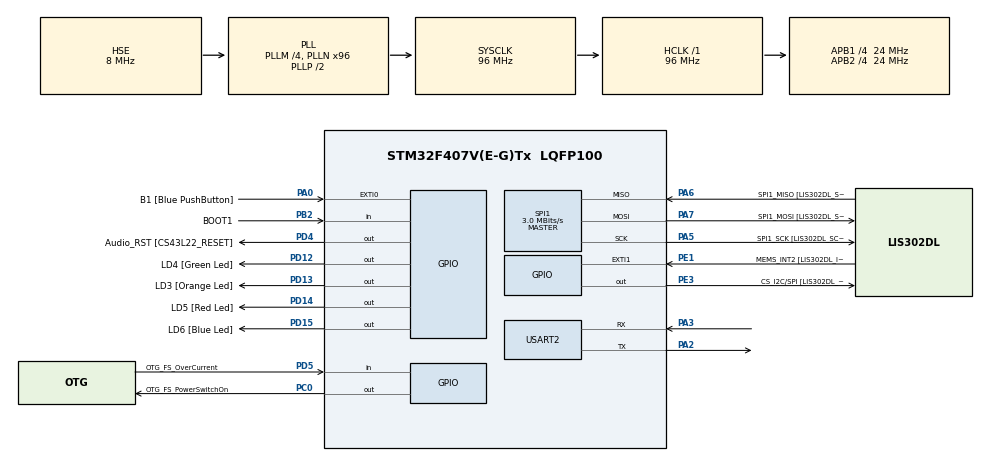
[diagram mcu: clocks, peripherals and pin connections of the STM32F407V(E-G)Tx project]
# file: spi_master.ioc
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Mcu.Family=STM32F4
Mcu.Name=STM32F407V(E-G)Tx
Mcu.Package=LQFP100
NVIC.PriorityGroup=NVIC_PRIORITYGROUP_0
NVIC.SPI1_IRQn=true\:0\:0\:false\:false\:true\:true\:true\:true
PA0-WKUP.GPIO_Label=B1 [Blue PushButton]
PA0-WKUP.GPIO_ModeDefaultEXTI=GPIO_MODE_EVT_RISING
PA0-WKUP.GPIO_PuPd=GPIO_NOPULL
PA0-WKUP.Signal=GPXTI0
PA10.GPIO_Label=OTG_FS_ID
PA10.GPIO_Mode=GPIO_MODE_AF_PP
PA10.GPIO_PuPd=GPIO_NOPULL
PA10.GPIO_Speed=GPIO_SPEED_FREQ_LOW
PA10.Signal=USB_OTG_FS_ID
PA11.GPIO_Label=OTG_FS_DM
PA11.GPIO_Mode=GPIO_MODE_AF_PP
PA11.GPIO_PuPd=GPIO_NOPULL
PA11.GPIO_Speed=GPIO_SPEED_FREQ_LOW
PA11.Signal=USB_OTG_FS_DM
PA12.GPIO_Label=OTG_FS_DP
PA12.GPIO_Mode=GPIO_MODE_AF_PP
PA12.GPIO_PuPd=GPIO_NOPULL
PA12.GPIO_Speed=GPIO_SPEED_FREQ_LOW
PA12.Signal=USB_OTG_FS_DP
PA13.GPIO_Label=SWDIO
PA13.Mode=Serial_Wire
PA13.Signal=SYS_JTMS-SWDIO
PA14.GPIO_Label=SWCLK
PA14.Mode=Serial_Wire
PA14.Signal=SYS_JTCK-SWCLK
PA2.Mode=Asynchronous
PA2.Signal=USART2_TX
PA3.Mode=Asynchronous
PA3.Signal=USART2_RX
PA4.GPIO_Label=I2S3_WS [CS43L22_LRCK]
PA4.GPIO_Mode=GPIO_MODE_AF_PP
PA4.GPIO_PuPd=GPIO_NOPULL
PA4.GPIO_Speed=GPIO_SPEED_FREQ_LOW
PA4.Signal=I2S3_WS
PA5.GPIO_Label=SPI1_SCK [LIS302DL_SCL/SPC]
PA5.GPIO_Mode=GPIO_MODE_AF_PP
PA5.GPIO_PuPd=GPIO_NOPULL
PA5.GPIO_Speed=GPIO_SPEED_FREQ_LOW
PA5.Mode=Full_Duplex_Master
PA5.Signal=SPI1_SCK
PA6.GPIO_Label=SPI1_MISO [LIS302DL_SDO]
PA6.GPIO_Mode=GPIO_MODE_AF_PP
PA6.GPIO_PuPd=GPIO_NOPULL
PA6.GPIO_Speed=GPIO_SPEED_FREQ_LOW
PA6.Mode=Full_Duplex_Master
PA6.Signal=SPI1_MISO
PA7.GPIO_Label=SPI1_MOSI [LIS302DL_SDA/SDI/SDO]
PA7.GPIO_Mode=GPIO_MODE_AF_PP
PA7.GPIO_PuPd=GPIO_NOPULL
PA7.GPIO_Speed=GPIO_SPEED_FREQ_LOW
PA7.Mode=Full_Duplex_Master
PA7.Signal=SPI1_MOSI
PA9.GPIO_Label=VBUS_FS
PA9.GPIO_Mode=GPIO_MODE_INPUT
PA9.GPIO_PuPd=GPIO_NOPULL
PA9.Signal=USB_OTG_FS_VBUS
PB10.GPIO_Label=CLK_IN [MP45DT02_CLK]
PB10.GPIO_Mode=GPIO_MODE_AF_PP
PB10.GPIO_PuPd=GPIO_NOPULL
PB10.GPIO_Speed=GPIO_SPEED_FREQ_LOW
PB10.Signal=I2S2_CK
PB2.GPIO_Label=BOOT1
PB2.GPIO_Mode=GPIO_MODE_INPUT
PB2.GPIO_PuPd=GPIO_NOPULL
PB2.Signal=GPIO_Input
PB3.GPIO_Label=SWO
PB3.Signal=SYS_JTDO-SWO
PB6.GPIO_Label=Audio_SCL [CS43L22_SCL]
PB6.GPIO_Mode=GPIO_MODE_AF_OD
PB6.GPIO_Pu=GPIO_PULLUP
PB6.GPIO_PuPd=GPIO_NOPULL
PB6.GPIO_Speed=GPIO_SPEED_FREQ_LOW
PB6.Signal=I2C1_SCL
PB9.GPIO_Label=Audio_SDA [CS43L22_SDA]
PB9.GPIO_Mode=GPIO_MODE_AF_OD
PB9.GPIO_Pu=GPIO_PULLUP
PB9.GPIO_PuPd=GPIO_NOPULL
PB9.GPIO_Speed=GPIO_SPEED_FREQ_LOW
PB9.Signal=I2C1_SDA
PC0.GPIO_Label=OTG_FS_PowerSwitchOn
PC0.GPIO_PuPd=GPIO_NOPULL
PC0.GPIO_Speed=GPIO_SPEED_FREQ_LOW
PC0.PinState=GPIO_PIN_SET
PC0.Signal=GPIO_Output
PC10.GPIO_Label=I2S3_SCK [CS43L22_SCLK]
PC10.GPIO_Mode=GPIO_MODE_AF_PP
PC10.GPIO_PuPd=GPIO_NOPULL
PC10.GPIO_Speed=GPIO_SPEED_FREQ_LOW
PC10.Signal=I2S3_CK
PC12.GPIO_Label=I2S3_SD [CS43L22_SDIN]
PC12.GPIO_Mode=GPIO_MODE_AF_PP
PC12.GPIO_PuPd=GPIO_NOPULL
PC12.GPIO_Speed=GPIO_SPEED_FREQ_LOW
PC12.Signal=I2S3_SD
PC14-OSC32_IN.GPIO_Label=PC14-OSC32_IN
PC14-OSC32_IN.Mode=LSE-External-Oscillator
PC14-OSC32_IN.Signal=RCC_OSC32_IN
PC15-OSC32_OUT.GPIO_Label=PC15-OSC32_OUT
PC15-OSC32_OUT.Mode=LSE-External-Oscillator
PC15-OSC32_OUT.Signal=RCC_OSC32_OUT
PC3.GPIO_Label=PDM_OUT [MP45DT02_DOUT]
PC3.GPIO_Mode=GPIO_MODE_AF_PP
PC3.GPIO_PuPd=GPIO_NOPULL
PC3.GPIO_Speed=GPIO_SPEED_FREQ_LOW
PC3.Signal=I2S2_SD
PC7.GPIO_Label=I2S3_MCK [CS43L22_MCLK]
PC7.GPIO_Mode=GPIO_MODE_AF_PP
PC7.GPIO_PuPd=GPIO_NOPULL
PC7.GPIO_Speed=GPIO_SPEED_FREQ_LOW
PC7.Signal=I2S3_MCK
PD12.GPIO_Label=LD4 [Green Led]
PD12.GPIO_PuPd=GPIO_NOPULL
PD12.GPIO_Speed=GPIO_SPEED_FREQ_LOW
PD12.Signal=GPIO_Output
PD13.GPIO_Label=LD3 [Orange Led]
PD13.GPIO_PuPd=GPIO_NOPULL
PD13.GPIO_Speed=GPIO_SPEED_FREQ_LOW
PD13.Signal=GPIO_Output
PD14.GPIO_Label=LD5 [Red Led]
PD14.GPIO_PuPd=GPIO_NOPULL
PD14.GPIO_Speed=GPIO_SPEED_FREQ_LOW
PD14.Signal=GPIO_Output
PD15.GPIO_Label=LD6 [Blue Led]
PD15.GPIO_PuPd=GPIO_NOPULL
PD15.GPIO_Speed=GPIO_SPEED_FREQ_LOW
PD15.Signal=GPIO_Output
PD4.GPIO_Label=Audio_RST [CS43L22_RESET]
PD4.GPIO_PuPd=GPIO_NOPULL
PD4.GPIO_Speed=GPIO_SPEED_FREQ_LOW
PD4.Signal=GPIO_Output
PD5.GPIO_Label=OTG_FS_OverCurrent
PD5.GPIO_Mode=GPIO_MODE_INPUT
PD5.GPIO_PuPd=GPIO_NOPULL
PD5.Signal=GPIO_Input
PE1.GPIO_Label=MEMS_INT2 [LIS302DL_INT2]
PE1.GPIO_ModeDefaultEXTI=GPIO_MODE_EVT_RISING
PE1.GPIO_PuPd=GPIO_NOPULL
PE1.Signal=GPXTI1
PE3.GPIO_Label=CS_I2C/SPI [LIS302DL_CS_I2C/SPI]
PE3.GPIO_PuPd=GPIO_NOPULL
PE3.GPIO_Speed=GPIO_SPEED_FREQ_LOW
PE3.Signal=GPIO_Output
PH0-OSC_IN.GPIO_Label=PH0-OSC_IN
PH0-OSC_IN.Mode=HSE-External-Oscillator
PH0-OSC_IN.Signal=RCC_OSC_IN
PH1-OSC_OUT.GPIO_Label=PH1-OSC_OUT
PH1-OSC_OUT.Mode=HSE-External-Oscillator
PH1-OSC_OUT.Signal=RCC_OSC_OUT
ProjectManager.HeapSize=0x200
ProjectManager.StackSize=0x400
ProjectManager.TargetToolchain=STM32CubeIDE
RCC.48MHZClocksFreq_Value=48000000
RCC.AHBFreq_Value=96000000
RCC.APB1CLKDivider=RCC_HCLK_DIV4
RCC.APB1Freq_Value=24000000
RCC.APB1TimFreq_Value=48000000
RCC.APB2CLKDivider=RCC_HCLK_DIV4
RCC.APB2Freq_Value=24000000
RCC.APB2TimFreq_Value=48000000
RCC.CortexFreq_Value=96000000
RCC.HCLKFreq_Value=96000000
RCC.HSE_VALUE=8000000
RCC.HSI_VALUE=16000000
RCC.PLLI2SN=50
RCC.PLLM=4
RCC.PLLN=96
RCC.PLLSourceVirtual=RCC_PLLSOURCE_HSE
RCC.SYSCLKFreq_VALUE=96000000
RCC.SYSCLKSource=RCC_SYSCLKSOURCE_PLLCLK
RCC.VCOOutputFreq_Value=192000000
SPI1.BaudRatePrescaler=SPI_BAUDRATEPRESCALER_8
SPI1.BaudRatePrescaler-Full_Duplex_Master=SPI_BAUDRATEPRESCALER_2
SPI1.CalculateBaudRate=3.0 MBits/s
SPI1.CalculateBaudRate-Full_Duplex_Master=42.0 MBits/s
SPI1.Direction=SPI_DIRECTION_2LINES
SPI1.Mode=SPI_MODE_MASTER
SPI1.Mode-Full_Duplex_Master=SPI_MODE_MASTER
SPI1.VirtualType=VM_MASTER
USART2.VirtualMode=VM_ASYNC
board=STM32F407G-DISC1

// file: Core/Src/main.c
/* USER CODE BEGIN Header */
/**
 ******************************************************************************
 * @file           : main.c
 * @brief          : Main program body
 ******************************************************************************
 * @attention
 *
 * Copyright (c) 2024 STMicroelectronics.
 * All rights reserved.
 *
 * This software is licensed under terms that can be found in the LICENSE file
 * in the root directory of this software component.
 * If no LICENSE file comes with this software, it is provided AS-IS.
 *
 ******************************************************************************
 */
/* USER CODE END Header */
#include "main.h"

/* USER CODE BEGIN Includes */
#include <string.h>
/* USER CODE END Includes */

SPI_HandleTypeDef hspi1;

UART_HandleTypeDef huart2;

/* USER CODE BEGIN PV */
uint8_t cmd[] = { 1, 2 };
uint8_t data[8];
uint8_t new_data_in = 0;
/* USER CODE END PV */

void SystemClock_Config(void);
static void MX_GPIO_Init(void);
static void MX_SPI1_Init(void);
static void MX_USART2_UART_Init(void);

int main(void) {

	/* MCU Configuration--------------------------------------------------------*/

	/* Reset of all peripherals, Initializes the Flash interface and the Systick. */
	HAL_Init();

	/* Configure the system clock */
	SystemClock_Config();

	/* Initialize all configured peripherals */
	MX_GPIO_Init();
	MX_SPI1_Init();
	MX_USART2_UART_Init();

	/* Infinite loop */
	/* USER CODE BEGIN WHILE */
	int cmd_sent = 0;
	while (1) {
		/* USER CODE END WHILE */

		/* USER CODE BEGIN 3 */
		// 1. Send SPI command.
		if (cmd_sent == 0) {
			cmd_sent = 1;
			HAL_SPI_Transmit(&hspi1, (uint8_t*) cmd, sizeof(cmd),
			HAL_MAX_DELAY);

			// 2. Send UART sent confirmation.
			char *sent_confirm_msg = "\ncmd sent to slave!\r\n";
			HAL_UART_Transmit(&huart2, (uint8_t*) sent_confirm_msg,
					strlen(sent_confirm_msg),
					HAL_MAX_DELAY);
		}

		// 3. Ready to receive SPI response data.
		uint16_t data_size_bytes = 2;
		memset(data, 0, sizeof(data));
		HAL_SPI_Receive_IT(&hspi1, data, data_size_bytes);

		// 4. If receive send to UART.
		if (new_data_in == 1) {
			// - Reset flag.
			new_data_in = 0;

			// - Add new lines.
			data[2] = '\r';
			data[3] = '\n';
			HAL_UART_Transmit(&huart2, data, sizeof(data) + 2, HAL_MAX_DELAY);
		}

		HAL_Delay(1);

	}
	/* USER CODE END 3 */
}

void SystemClock_Config(void) {
	RCC_OscInitTypeDef RCC_OscInitStruct = { 0 };
	RCC_ClkInitTypeDef RCC_ClkInitStruct = { 0 };

	/** Configure the main internal regulator output voltage
	 */
	__HAL_RCC_PWR_CLK_ENABLE();
	__HAL_PWR_VOLTAGESCALING_CONFIG(PWR_REGULATOR_VOLTAGE_SCALE1);

	/** Initializes the RCC Oscillators according to the specified parameters
	 * in the RCC_OscInitTypeDef structure.
	 */
	RCC_OscInitStruct.OscillatorType = RCC_OSCILLATORTYPE_HSE;
	RCC_OscInitStruct.HSEState = RCC_HSE_ON;
	RCC_OscInitStruct.PLL.PLLState = RCC_PLL_ON;
	RCC_OscInitStruct.PLL.PLLSource = RCC_PLLSOURCE_HSE;
	RCC_OscInitStruct.PLL.PLLM = 4;
	RCC_OscInitStruct.PLL.PLLN = 96;
	RCC_OscInitStruct.PLL.PLLP = RCC_PLLP_DIV2;
	RCC_OscInitStruct.PLL.PLLQ = 4;
	if (HAL_RCC_OscConfig(&RCC_OscInitStruct) != HAL_OK) {
		Error_Handler();
	}

	/** Initializes the CPU, AHB and APB buses clocks
	 */
	RCC_ClkInitStruct.ClockType = RCC_CLOCKTYPE_HCLK | RCC_CLOCKTYPE_SYSCLK
			| RCC_CLOCKTYPE_PCLK1 | RCC_CLOCKTYPE_PCLK2;
	RCC_ClkInitStruct.SYSCLKSource = RCC_SYSCLKSOURCE_PLLCLK;
	RCC_ClkInitStruct.AHBCLKDivider = RCC_SYSCLK_DIV1;
	RCC_ClkInitStruct.APB1CLKDivider = RCC_HCLK_DIV4;
	RCC_ClkInitStruct.APB2CLKDivider = RCC_HCLK_DIV4;

	if (HAL_RCC_ClockConfig(&RCC_ClkInitStruct, FLASH_LATENCY_3) != HAL_OK) {
		Error_Handler();
	}
}

static void MX_SPI1_Init(void) {

	/* SPI1 parameter configuration*/
	hspi1.Instance = SPI1;
	hspi1.Init.Mode = SPI_MODE_MASTER;
	hspi1.Init.Direction = SPI_DIRECTION_2LINES;
	hspi1.Init.DataSize = SPI_DATASIZE_8BIT;
	hspi1.Init.CLKPolarity = SPI_POLARITY_LOW;
	hspi1.Init.CLKPhase = SPI_PHASE_1EDGE;
	hspi1.Init.NSS = SPI_NSS_SOFT;
	hspi1.Init.BaudRatePrescaler = SPI_BAUDRATEPRESCALER_8;
	hspi1.Init.FirstBit = SPI_FIRSTBIT_MSB;
	hspi1.Init.TIMode = SPI_TIMODE_DISABLE;
	hspi1.Init.CRCCalculation = SPI_CRCCALCULATION_DISABLE;
	hspi1.Init.CRCPolynomial = 10;
	if (HAL_SPI_Init(&hspi1) != HAL_OK) {
		Error_Handler();
	}

}

static void MX_USART2_UART_Init(void) {

	huart2.Instance = USART2;
	huart2.Init.BaudRate = 115200;
	huart2.Init.WordLength = UART_WORDLENGTH_8B;
	huart2.Init.StopBits = UART_STOPBITS_1;
	huart2.Init.Parity = UART_PARITY_NONE;
	huart2.Init.Mode = UART_MODE_TX_RX;
	huart2.Init.HwFlowCtl = UART_HWCONTROL_NONE;
	huart2.Init.OverSampling = UART_OVERSAMPLING_16;
	if (HAL_UART_Init(&huart2) != HAL_OK) {
		Error_Handler();
	}

}

static void MX_GPIO_Init(void) {
	GPIO_InitTypeDef GPIO_InitStruct = { 0 };

	/* GPIO Ports Clock Enable */
	__HAL_RCC_GPIOE_CLK_ENABLE();
	__HAL_RCC_GPIOC_CLK_ENABLE();
	__HAL_RCC_GPIOH_CLK_ENABLE();
	__HAL_RCC_GPIOA_CLK_ENABLE();
	__HAL_RCC_GPIOB_CLK_ENABLE();
	__HAL_RCC_GPIOD_CLK_ENABLE();

	/*Configure GPIO pin Output Level */
	HAL_GPIO_WritePin(CS_I2C_SPI_GPIO_Port, CS_I2C_SPI_Pin, GPIO_PIN_RESET);

	/*Configure GPIO pin Output Level */
	HAL_GPIO_WritePin(OTG_FS_PowerSwitchOn_GPIO_Port, OTG_FS_PowerSwitchOn_Pin,
			GPIO_PIN_SET);

	/*Configure GPIO pin Output Level */
	HAL_GPIO_WritePin(GPIOD,
	LD4_Pin | LD3_Pin | LD5_Pin | LD6_Pin | Audio_RST_Pin, GPIO_PIN_RESET);

	/*Configure GPIO pin : CS_I2C_SPI_Pin */
	GPIO_InitStruct.Pin = CS_I2C_SPI_Pin;
	GPIO_InitStruct.Mode = GPIO_MODE_OUTPUT_PP;
	GPIO_InitStruct.Pull = GPIO_NOPULL;
	GPIO_InitStruct.Speed = GPIO_SPEED_FREQ_LOW;
	HAL_GPIO_Init(CS_I2C_SPI_GPIO_Port, &GPIO_InitStruct);

	/*Configure GPIO pin : OTG_FS_PowerSwitchOn_Pin */
	GPIO_InitStruct.Pin = OTG_FS_PowerSwitchOn_Pin;
	GPIO_InitStruct.Mode = GPIO_MODE_OUTPUT_PP;
	GPIO_InitStruct.Pull = GPIO_NOPULL;
	GPIO_InitStruct.Speed = GPIO_SPEED_FREQ_LOW;
	HAL_GPIO_Init(OTG_FS_PowerSwitchOn_GPIO_Port, &GPIO_InitStruct);

	/*Configure GPIO pin : PDM_OUT_Pin */
	GPIO_InitStruct.Pin = PDM_OUT_Pin;
	GPIO_InitStruct.Mode = GPIO_MODE_AF_PP;
	GPIO_InitStruct.Pull = GPIO_NOPULL;
	GPIO_InitStruct.Speed = GPIO_SPEED_FREQ_LOW;
	GPIO_InitStruct.Alternate = GPIO_AF5_SPI2;
	HAL_GPIO_Init(PDM_OUT_GPIO_Port, &GPIO_InitStruct);

	/*Configure GPIO pin : B1_Pin */
	GPIO_InitStruct.Pin = B1_Pin;
	GPIO_InitStruct.Mode = GPIO_MODE_EVT_RISING;
	GPIO_InitStruct.Pull = GPIO_NOPULL;
	HAL_GPIO_Init(B1_GPIO_Port, &GPIO_InitStruct);

	/*Configure GPIO pin : I2S3_WS_Pin */
	GPIO_InitStruct.Pin = I2S3_WS_Pin;
	GPIO_InitStruct.Mode = GPIO_MODE_AF_PP;
	GPIO_InitStruct.Pull = GPIO_NOPULL;
	GPIO_InitStruct.Speed = GPIO_SPEED_FREQ_LOW;
	GPIO_InitStruct.Alternate = GPIO_AF6_SPI3;
	HAL_GPIO_Init(I2S3_WS_GPIO_Port, &GPIO_InitStruct);

	/*Configure GPIO pin : BOOT1_Pin */
	GPIO_InitStruct.Pin = BOOT1_Pin;
	GPIO_InitStruct.Mode = GPIO_MODE_INPUT;
	GPIO_InitStruct.Pull = GPIO_NOPULL;
	HAL_GPIO_Init(BOOT1_GPIO_Port, &GPIO_InitStruct);

	/*Configure GPIO pin : CLK_IN_Pin */
	GPIO_InitStruct.Pin = CLK_IN_Pin;
	GPIO_InitStruct.Mode = GPIO_MODE_AF_PP;
	GPIO_InitStruct.Pull = GPIO_NOPULL;
	GPIO_InitStruct.Speed = GPIO_SPEED_FREQ_LOW;
	GPIO_InitStruct.Alternate = GPIO_AF5_SPI2;
	HAL_GPIO_Init(CLK_IN_GPIO_Port, &GPIO_InitStruct);

	/*Configure GPIO pins : LD4_Pin LD3_Pin LD5_Pin LD6_Pin
	 Audio_RST_Pin */
	GPIO_InitStruct.Pin = LD4_Pin | LD3_Pin | LD5_Pin | LD6_Pin | Audio_RST_Pin;
	GPIO_InitStruct.Mode = GPIO_MODE_OUTPUT_PP;
	GPIO_InitStruct.Pull = GPIO_NOPULL;
	GPIO_InitStruct.Speed = GPIO_SPEED_FREQ_LOW;
	HAL_GPIO_Init(GPIOD, &GPIO_InitStruct);

	/*Configure GPIO pins : I2S3_MCK_Pin I2S3_SCK_Pin I2S3_SD_Pin */
	GPIO_InitStruct.Pin = I2S3_MCK_Pin | I2S3_SCK_Pin | I2S3_SD_Pin;
	GPIO_InitStruct.Mode = GPIO_MODE_AF_PP;
	GPIO_InitStruct.Pull = GPIO_NOPULL;
	GPIO_InitStruct.Speed = GPIO_SPEED_FREQ_LOW;
	GPIO_InitStruct.Alternate = GPIO_AF6_SPI3;
	HAL_GPIO_Init(GPIOC, &GPIO_InitStruct);

	/*Configure GPIO pin : VBUS_FS_Pin */
	GPIO_InitStruct.Pin = VBUS_FS_Pin;
	GPIO_InitStruct.Mode = GPIO_MODE_INPUT;
	GPIO_InitStruct.Pull = GPIO_NOPULL;
	HAL_GPIO_Init(VBUS_FS_GPIO_Port, &GPIO_InitStruct);

	/*Configure GPIO pins : OTG_FS_ID_Pin OTG_FS_DM_Pin OTG_FS_DP_Pin */
	GPIO_InitStruct.Pin = OTG_FS_ID_Pin | OTG_FS_DM_Pin | OTG_FS_DP_Pin;
	GPIO_InitStruct.Mode = GPIO_MODE_AF_PP;
	GPIO_InitStruct.Pull = GPIO_NOPULL;
	GPIO_InitStruct.Speed = GPIO_SPEED_FREQ_LOW;
	GPIO_InitStruct.Alternate = GPIO_AF10_OTG_FS;
	HAL_GPIO_Init(GPIOA, &GPIO_InitStruct);

	/*Configure GPIO pin : OTG_FS_OverCurrent_Pin */
	GPIO_InitStruct.Pin = OTG_FS_OverCurrent_Pin;
	GPIO_InitStruct.Mode = GPIO_MODE_INPUT;
	GPIO_InitStruct.Pull = GPIO_NOPULL;
	HAL_GPIO_Init(OTG_FS_OverCurrent_GPIO_Port, &GPIO_InitStruct);

	/*Configure GPIO pins : Audio_SCL_Pin Audio_SDA_Pin */
	GPIO_InitStruct.Pin = Audio_SCL_Pin | Audio_SDA_Pin;
	GPIO_InitStruct.Mode = GPIO_MODE_AF_OD;
	GPIO_InitStruct.Pull = GPIO_PULLUP;
	GPIO_InitStruct.Speed = GPIO_SPEED_FREQ_LOW;
	GPIO_InitStruct.Alternate = GPIO_AF4_I2C1;
	HAL_GPIO_Init(GPIOB, &GPIO_InitStruct);

	/*Configure GPIO pin : MEMS_INT2_Pin */
	GPIO_InitStruct.Pin = MEMS_INT2_Pin;
	GPIO_InitStruct.Mode = GPIO_MODE_EVT_RISING;
	GPIO_InitStruct.Pull = GPIO_NOPULL;
	HAL_GPIO_Init(MEMS_INT2_GPIO_Port, &GPIO_InitStruct);

}

/* USER CODE BEGIN 4 */
void HAL_SPI_RxCpltCallback(SPI_HandleTypeDef *hspi) {
	if (hspi->Instance == hspi1.Instance) {
		new_data_in = 1;
	}
}
/* USER CODE END 4 */

void Error_Handler(void) {
	__disable_irq();
	while (1) {
	}
}
